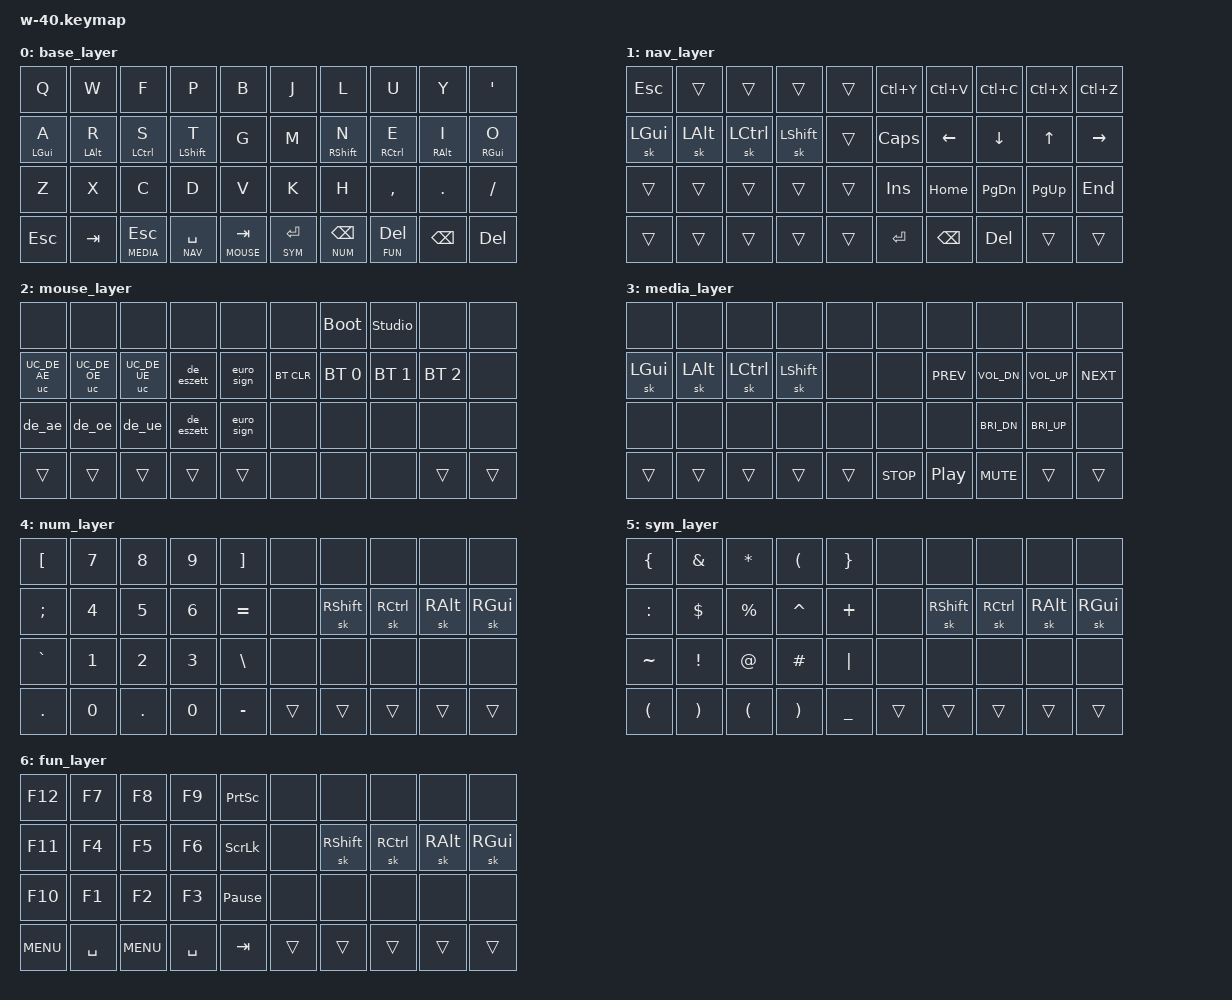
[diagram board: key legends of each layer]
/*
 * Copyright (c) 2022 The ZMK Contributors
 *
 * SPDX-License-Identifier: MIT
 */

#include <behaviors.dtsi>
#include <dt-bindings/zmk/keys.h>
#include <dt-bindings/zmk/bt.h>
#include <dt-bindings/zmk/outputs.h>
#include <behaviors/unicode.dtsi>
#include "../helper.h"
#include "../international_chars/german.dtsi"

#define HOST_OS 1                                /* Use Linux input system */

#define BASE 0
#define NAV  1
#define MOUSE 2
#define MEDIA 3
#define NUM  4
#define SYM  5
#define FUN  6

// Miryoku layer aliases
#define U_BASE   BASE
#define U_NAV    NAV
#define U_MOUSE  MOUSE
#define U_MEDIA  MEDIA
#define U_NUM    NUM
#define U_SYM    SYM
#define U_FUN    FUN

// Miryoku key aliases
#define U_MT(MOD, TAP) &mt MOD TAP
#define U_LT(LAYER, TAP) &lt LAYER TAP

&uc {
  default-mode = <UC_MODE_LINUX>;                /* Default to Linux input system */
};

// w-40 physical layout:
// ╭────┬────┬────┬────┬────╮ ╭────┬────┬────┬────┬────╮
// │ 0  │ 1  │ 2  │ 3  │ 4  │ │ 5  │ 6  │ 7  │ 8  │ 9  │
// ├────┼────┼────┼────┼────┤ ├────┼────┼────┼────┼────┤
// │ 10 │ 11 │ 12 │ 13 │ 14 │ │ 15 │ 16 │ 17 │ 18 │ 19 │
// ├────┼────┼────┼────┼────┤ ├────┼────┼────┼────┼────┤
// │ 20 │ 21 │ 22 │ 23 │ 24 │ │ 25 │ 26 │ 27 │ 28 │ 29 │
// ├────┼────┼────┼────┼────┤ ├────┼────┼────┼────┼────┤
// │ 30 │ 31 │ 32 │ 33 │ 34 │ │ 35 │ 36 │ 37 │ 38 │ 39 │
// ╰────┴────┴────┴────┴────╯ ╰────┴────┴────┴────┴────╯

/ {
    behaviors {
        hml: homerow_mods_left {
            compatible = "zmk,behavior-hold-tap";
            label = "HOMEROW_MODS_LEFT";
            #binding-cells = <2>;
            flavor = "balanced";
            require-prior-idle-ms = <150>;
            tapping-term-ms = <280>;
            quick-tap-ms = <175>;
            bindings = <&kp>, <&kp>;
            hold-trigger-key-positions = <5 6 7 8 9 15 16 17 18 19 25 26 27 28 29 35 36 37 38 39>;
            hold-trigger-on-release;
        };

        hmr: homerow_mods_right {
            compatible = "zmk,behavior-hold-tap";
            label = "HOMEROW_MODS_RIGHT";
            #binding-cells = <2>;
            flavor = "balanced";
            require-prior-idle-ms = <150>;
            tapping-term-ms = <280>;
            quick-tap-ms = <175>;
            bindings = <&kp>, <&kp>;
            hold-trigger-key-positions = <0 1 2 3 4 10 11 12 13 14 20 21 22 23 24 30 31 32 33 34>;
            hold-trigger-on-release;
        };

        u_mt: u_mt {
            compatible = "zmk,behavior-hold-tap";
            label = "u_mt";
            #binding-cells = <2>;
            tapping-term-ms = <200>;
            flavor = "tap-preferred";
            bindings = <&kp>, <&kp>;
        };

        u_lt: u_lt {
            compatible = "zmk,behavior-hold-tap";
            label = "u_lt";
            #binding-cells = <2>;
            tapping-term-ms = <200>;
            flavor = "tap-preferred";
            bindings = <&mo>, <&kp>;
        };
    };

    combos {
        compatible = "zmk,combos";

        // Escape combo
        combo_esc {
            timeout-ms = <60>;
            key-positions = <1 2>;
            bindings = <&kp ESC>;
        };

        // Enter combo
        combo_enter {
            timeout-ms = <60>;
            key-positions = <7 8>;
            bindings = <&kp ENTER>;
        };

        // Tab combo
        combo_tab {
            timeout-ms = <60>;
            key-positions = <11 12>;
            bindings = <&kp TAB>;
        };

        // Backspace combo
        combo_bspc {
            timeout-ms = <60>;
            key-positions = <17 18>;
            bindings = <&kp BSPC>;
        };

        // Delete combo
        combo_del {
            timeout-ms = <60>;
            key-positions = <18 19>;
            bindings = <&kp DEL>;
        };

        // Caps word combo
        combo_caps_word {
            timeout-ms = <60>;
            key-positions = <13 16>;
            bindings = <&caps_word>;
        };
    };

    conditional_layers {
        compatible = "zmk,conditional-layers";

        // Activate FUN layer when both SYM and NAV are held
        fun_layer {
            if-layers = <SYM NAV>;
            then-layer = <FUN>;
        };
    };

    keymap {
        compatible = "zmk,keymap";

        // Base layer (Colemak-DH)
        base_layer {
            bindings = <
                &kp Q        &kp W        &kp F        &kp P        &kp B        &kp J        &kp L        &kp U        &kp Y        &kp SQT
                &hml LGUI A  &hml LALT R  &hml LCTRL S &hml LSHFT T &kp G        &kp M        &hmr RSHFT N &hmr RCTRL E &hmr RALT I  &hmr RGUI O
                &kp Z        &kp X        &kp C        &kp D        &kp V        &kp K        &kp H        &kp COMMA    &kp DOT      &kp FSLH
                &kp ESC      &kp TAB      &u_lt MEDIA ESC &u_lt NAV SPACE &u_lt MOUSE TAB  &u_lt SYM ENTER &u_lt NUM BSPC &u_lt FUN DEL &kp BSPC &kp DEL
            >;
        };

        // Nav layer
        nav_layer {
            bindings = <
                &kp ESC      &trans       &trans       &trans       &trans       &kp LC(Y)    &kp LC(V)    &kp LC(C)    &kp LC(X)    &kp LC(Z)
                &sk LGUI     &sk LALT     &sk LCTRL    &sk LSHFT    &trans       &kp CAPS     &kp LEFT     &kp DOWN     &kp UP       &kp RIGHT
                &trans       &trans       &trans       &trans       &trans       &kp INS      &kp HOME     &kp PG_DN    &kp PG_UP    &kp END
                &trans       &trans       &trans       &trans       &trans       &kp ENTER    &kp BSPC     &kp DEL      &trans       &trans
            >;
        };

        // Mouse layer
        mouse_layer {
            bindings = <
                &none        &none        &none        &none          &none           &none        &bootloader   &studio_unlock  &none         &none
                &uc UC_DE_AE &uc UC_DE_OE &uc UC_DE_UE &de_eszett     &euro_sign      &bt BT_CLR   &bt BT_SEL 0  &bt BT_SEL 1    &bt BT_SEL 2  &none
                &de_ae       &de_oe       &de_ue       &de_eszett     &euro_sign      &none        &none         &none           &none         &none
                &trans       &trans       &trans       &trans         &trans          &none        &none         &none           &trans        &trans
            >;
        };

        // Media layer
        media_layer {
            bindings = <
                &none        &none        &none        &none        &none        &none        &none        &none        &none        &none
                &sk LGUI     &sk LALT     &sk LCTRL    &sk LSHFT    &none        &none        &kp C_PREV   &kp C_VOL_DN &kp C_VOL_UP &kp C_NEXT
                &none        &none        &none        &none        &none        &none        &none        &kp C_BRI_DN &kp C_BRI_UP &none
                &trans       &trans       &trans       &trans       &trans       &kp C_STOP   &kp C_PP     &kp C_MUTE   &trans       &trans
            >;
        };

        // Num layer
        num_layer {
            bindings = <
                &kp LBKT     &kp N7       &kp N8       &kp N9       &kp RBKT     &none        &none        &none        &none        &none
                &kp SEMI     &kp N4       &kp N5       &kp N6       &kp EQUAL    &none        &sk RSHFT    &sk RCTRL    &sk RALT     &sk RGUI
                &kp GRAVE    &kp N1       &kp N2       &kp N3       &kp BSLH     &none        &none        &none        &none        &none
                &kp DOT      &kp N0       &kp DOT      &kp N0       &kp MINUS    &trans       &trans       &trans       &trans       &trans
            >;
        };

        // Sym layer
        sym_layer {
            bindings = <
                &kp LBRC     &kp AMPS     &kp STAR     &kp LPAR     &kp RBRC     &none        &none        &none        &none        &none
                &kp COLON    &kp DLLR     &kp PRCNT    &kp CARET    &kp PLUS     &none        &sk RSHFT    &sk RCTRL    &sk RALT     &sk RGUI
                &kp TILDE    &kp EXCL     &kp AT       &kp HASH     &kp PIPE     &none        &none        &none        &none        &none
                &kp LPAR     &kp RPAR     &kp LPAR     &kp RPAR     &kp UNDER    &trans       &trans       &trans       &trans       &trans
            >;
        };

        // Fun layer
        fun_layer {
            bindings = <
                &kp F12      &kp F7       &kp F8       &kp F9       &kp PSCRN    &none        &none        &none        &none        &none
                &kp F11      &kp F4       &kp F5       &kp F6       &kp SLCK     &none        &sk RSHFT    &sk RCTRL    &sk RALT     &sk RGUI
                &kp F10      &kp F1       &kp F2       &kp F3       &kp PAUSE_BREAK &none     &none        &none        &none        &none
                &kp K_MENU   &kp SPACE    &kp K_MENU   &kp SPACE    &kp TAB      &trans       &trans       &trans       &trans       &trans
            >;
        };
    };
};

// Miryoku configuration
#define MIRYOKU_LAYER_BASE U_BASE
#define MIRYOKU_LAYER_NAV U_NAV
#define MIRYOKU_LAYER_MOUSE U_MOUSE
#define MIRYOKU_LAYER_MEDIA U_MEDIA
#define MIRYOKU_LAYER_NUM U_NUM
#define MIRYOKU_LAYER_SYM U_SYM
#define MIRYOKU_LAYER_FUN U_FUN
